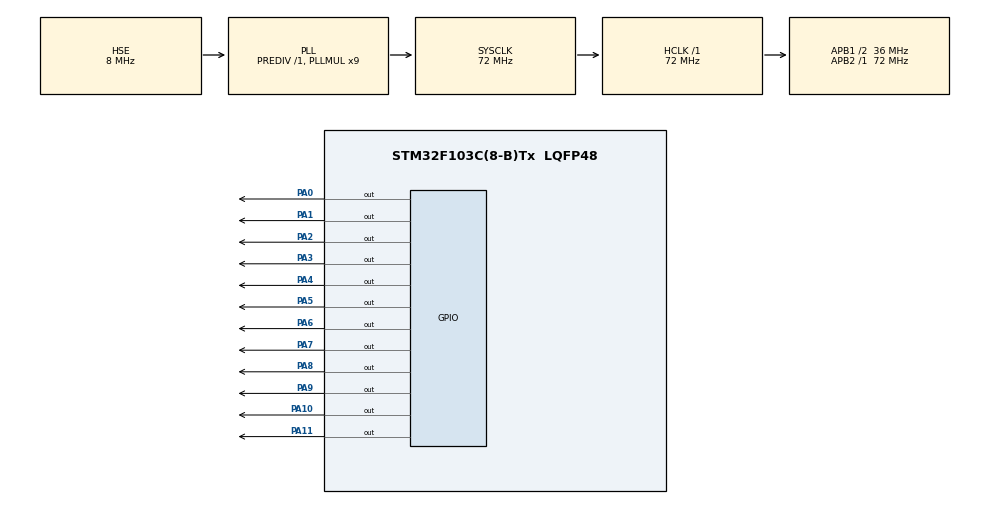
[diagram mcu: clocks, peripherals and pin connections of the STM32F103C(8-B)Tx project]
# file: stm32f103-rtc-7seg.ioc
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Mcu.Family=STM32F1
Mcu.Name=STM32F103C(8-B)Tx
Mcu.Package=LQFP48
NVIC.PriorityGroup=NVIC_PRIORITYGROUP_4
PA0-WKUP.Signal=GPIO_Output
PA1.Signal=GPIO_Output
PA10.Signal=GPIO_Output
PA11.Signal=GPIO_Output
PA13.Mode=Serial_Wire
PA13.Signal=SYS_JTMS-SWDIO
PA14.Mode=Serial_Wire
PA14.Signal=SYS_JTCK-SWCLK
PA2.Signal=GPIO_Output
PA3.Signal=GPIO_Output
PA4.Signal=GPIO_Output
PA5.Signal=GPIO_Output
PA6.Signal=GPIO_Output
PA7.Signal=GPIO_Output
PA8.Signal=GPIO_Output
PA9.Signal=GPIO_Output
PC14-OSC32_IN.Mode=LSE-External-Oscillator
PC14-OSC32_IN.Signal=RCC_OSC32_IN
PC15-OSC32_OUT.Mode=LSE-External-Oscillator
PC15-OSC32_OUT.Signal=RCC_OSC32_OUT
PD0-OSC_IN.Mode=HSE-External-Oscillator
PD0-OSC_IN.Signal=RCC_OSC_IN
PD1-OSC_OUT.Mode=HSE-External-Oscillator
PD1-OSC_OUT.Signal=RCC_OSC_OUT
ProjectManager.HeapSize=0x200
ProjectManager.StackSize=0x400
ProjectManager.TargetToolchain=Makefile
RCC.AHBFreq_Value=72000000
RCC.APB1CLKDivider=RCC_HCLK_DIV2
RCC.APB1Freq_Value=36000000
RCC.APB1TimFreq_Value=72000000
RCC.APB2Freq_Value=72000000
RCC.APB2TimFreq_Value=72000000
RCC.HCLKFreq_Value=72000000
RCC.PLLMUL=RCC_PLL_MUL9
RCC.PLLSourceVirtual=RCC_PLLSOURCE_HSE
RCC.SYSCLKFreq_VALUE=72000000
RCC.SYSCLKSource=RCC_SYSCLKSOURCE_PLLCLK
RCC.USBFreq_Value=72000000
RTC.Date=11
RTC.Format=RTC_FORMAT_BIN
RTC.Hours=11
RTC.Minutes=30
RTC.Month=RTC_MONTH_JULY
RTC.WeekDay=RTC_WEEKDAY_SATURDAY
RTC.Year=20
VP_RTC_VS_RTC_Activate.Mode=RTC_Enabled
VP_RTC_VS_RTC_Calendar.Mode=RTC_Calendar
board=custom

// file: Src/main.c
/* USER CODE BEGIN Header */
/**
  ******************************************************************************
  * @file           : main.c
  * @brief          : Main program body
  ******************************************************************************
  * @attention
  *
  * <h2><center>&copy; Copyright (c) 2020 STMicroelectronics.
  * All rights reserved.</center></h2>
  *
  * This software component is licensed by ST under BSD 3-Clause license,
  * the "License"; You may not use this file except in compliance with the
  * License. You may obtain a copy of the License at:
  *                        opensource.org/licenses/BSD-3-Clause
  *
  ******************************************************************************
  */
/* USER CODE END Header */

#include "main.h"

RTC_HandleTypeDef hrtc;

void SystemClock_Config(void);
static void MX_GPIO_Init(void);
static void MX_RTC_Init(void);

int main(void)
{

  /* MCU Configuration--------------------------------------------------------*/

  /* Reset of all peripherals, Initializes the Flash interface and the Systick. */
  HAL_Init();

  /* Configure the system clock */
  SystemClock_Config();

  /* Initialize all configured peripherals */
  MX_GPIO_Init();
  MX_RTC_Init();
  /* USER CODE BEGIN 2 */
  RTC_TimeTypeDef gTime;
  uint8_t s;
  uint8_t ss;
  uint8_t m;
  uint8_t mm;
  uint8_t h;
  uint8_t hh;
  const uint8_t segment_table[] = {0b00111111,  //0
                                   0b00000110,  //1
                                   0b01011011,  //2
                                   0b01001111,  //3
                                   0b01100110,  //4
                                   0b01101101,  //5
                                   0b01111101,  //6
                                   0b00000111,  //7
                                   0b01111111,  //8
                                   0b01101111,  //9
  };
  /* USER CODE END 2 */

  /* Infinite loop */
  /* USER CODE BEGIN WHILE */
  while (1)
  {
    HAL_RTC_GetTime(&hrtc, &gTime, RTC_FORMAT_BIN);

    s  = gTime.Seconds % 10;
    ss = gTime.Seconds / 10;
    m  = gTime.Minutes % 10;
    mm = gTime.Minutes / 10;
    h  = gTime.Hours % 10;
    hh = gTime.Hours / 10;

    GPIOA->ODR = segment_table[m] | GPIO_PIN_8;
    HAL_Delay(1);
    GPIOA->ODR = segment_table[mm] | GPIO_PIN_9;
    HAL_Delay(1);
    GPIOA->ODR = segment_table[h] | GPIO_PIN_10;
    HAL_Delay(1);
    GPIOA->ODR = segment_table[hh] | GPIO_PIN_11;
    HAL_Delay(1);
    /* USER CODE END WHILE */

  }
}

void SystemClock_Config(void)
{
  RCC_OscInitTypeDef RCC_OscInitStruct = {0};
  RCC_ClkInitTypeDef RCC_ClkInitStruct = {0};
  RCC_PeriphCLKInitTypeDef PeriphClkInit = {0};

  /** Initializes the CPU, AHB and APB busses clocks
  */
  RCC_OscInitStruct.OscillatorType = RCC_OSCILLATORTYPE_LSI|RCC_OSCILLATORTYPE_HSE;
  RCC_OscInitStruct.HSEState = RCC_HSE_ON;
  RCC_OscInitStruct.HSEPredivValue = RCC_HSE_PREDIV_DIV1;
  RCC_OscInitStruct.HSIState = RCC_HSI_ON;
  RCC_OscInitStruct.LSIState = RCC_LSI_ON;
  RCC_OscInitStruct.PLL.PLLState = RCC_PLL_ON;
  RCC_OscInitStruct.PLL.PLLSource = RCC_PLLSOURCE_HSE;
  RCC_OscInitStruct.PLL.PLLMUL = RCC_PLL_MUL9;
  if (HAL_RCC_OscConfig(&RCC_OscInitStruct) != HAL_OK)
  {
    Error_Handler();
  }
  /** Initializes the CPU, AHB and APB busses clocks
  */
  RCC_ClkInitStruct.ClockType = RCC_CLOCKTYPE_HCLK|RCC_CLOCKTYPE_SYSCLK
                              |RCC_CLOCKTYPE_PCLK1|RCC_CLOCKTYPE_PCLK2;
  RCC_ClkInitStruct.SYSCLKSource = RCC_SYSCLKSOURCE_PLLCLK;
  RCC_ClkInitStruct.AHBCLKDivider = RCC_SYSCLK_DIV1;
  RCC_ClkInitStruct.APB1CLKDivider = RCC_HCLK_DIV2;
  RCC_ClkInitStruct.APB2CLKDivider = RCC_HCLK_DIV1;

  if (HAL_RCC_ClockConfig(&RCC_ClkInitStruct, FLASH_LATENCY_2) != HAL_OK)
  {
    Error_Handler();
  }
  PeriphClkInit.PeriphClockSelection = RCC_PERIPHCLK_RTC;
  PeriphClkInit.RTCClockSelection = RCC_RTCCLKSOURCE_LSI;
  if (HAL_RCCEx_PeriphCLKConfig(&PeriphClkInit) != HAL_OK)
  {
    Error_Handler();
  }
}

static void MX_RTC_Init(void)
{

  RTC_TimeTypeDef sTime = {0};
  RTC_DateTypeDef DateToUpdate = {0};

  /** Initialize RTC Only
  */
  hrtc.Instance = RTC;
  hrtc.Init.AsynchPrediv = RTC_AUTO_1_SECOND;
  hrtc.Init.OutPut = RTC_OUTPUTSOURCE_ALARM;
  if (HAL_RTC_Init(&hrtc) != HAL_OK)
  {
    Error_Handler();
  }

  /** Initialize RTC and set the Time and Date
  */
  sTime.Hours = 11;
  sTime.Minutes = 30;
  sTime.Seconds = 0;

  if (HAL_RTC_SetTime(&hrtc, &sTime, RTC_FORMAT_BIN) != HAL_OK)
  {
    Error_Handler();
  }
  DateToUpdate.WeekDay = RTC_WEEKDAY_SATURDAY;
  DateToUpdate.Month = RTC_MONTH_JULY;
  DateToUpdate.Date = 11;
  DateToUpdate.Year = 20;

  if (HAL_RTC_SetDate(&hrtc, &DateToUpdate, RTC_FORMAT_BIN) != HAL_OK)
  {
    Error_Handler();
  }

}

static void MX_GPIO_Init(void)
{
  GPIO_InitTypeDef GPIO_InitStruct = {0};

  /* GPIO Ports Clock Enable */
  __HAL_RCC_GPIOC_CLK_ENABLE();
  __HAL_RCC_GPIOD_CLK_ENABLE();
  __HAL_RCC_GPIOA_CLK_ENABLE();

  /*Configure GPIO pin Output Level */
  HAL_GPIO_WritePin(GPIOA, GPIO_PIN_0|GPIO_PIN_1|GPIO_PIN_2|GPIO_PIN_3
                          |GPIO_PIN_4|GPIO_PIN_5|GPIO_PIN_6|GPIO_PIN_7
                          |GPIO_PIN_8|GPIO_PIN_9|GPIO_PIN_10|GPIO_PIN_11, GPIO_PIN_RESET);

  /*Configure GPIO pins : PA0 PA1 PA2 PA3
                           PA4 PA5 PA6 PA7
                           PA8 PA9 PA10 PA11 */
  GPIO_InitStruct.Pin = GPIO_PIN_0|GPIO_PIN_1|GPIO_PIN_2|GPIO_PIN_3
                          |GPIO_PIN_4|GPIO_PIN_5|GPIO_PIN_6|GPIO_PIN_7
                          |GPIO_PIN_8|GPIO_PIN_9|GPIO_PIN_10|GPIO_PIN_11;
  GPIO_InitStruct.Mode = GPIO_MODE_OUTPUT_PP;
  GPIO_InitStruct.Pull = GPIO_NOPULL;
  GPIO_InitStruct.Speed = GPIO_SPEED_FREQ_LOW;
  HAL_GPIO_Init(GPIOA, &GPIO_InitStruct);

}

void Error_Handler(void)
{
}

/************************ (C) COPYRIGHT STMicroelectronics *****END OF FILE****/
